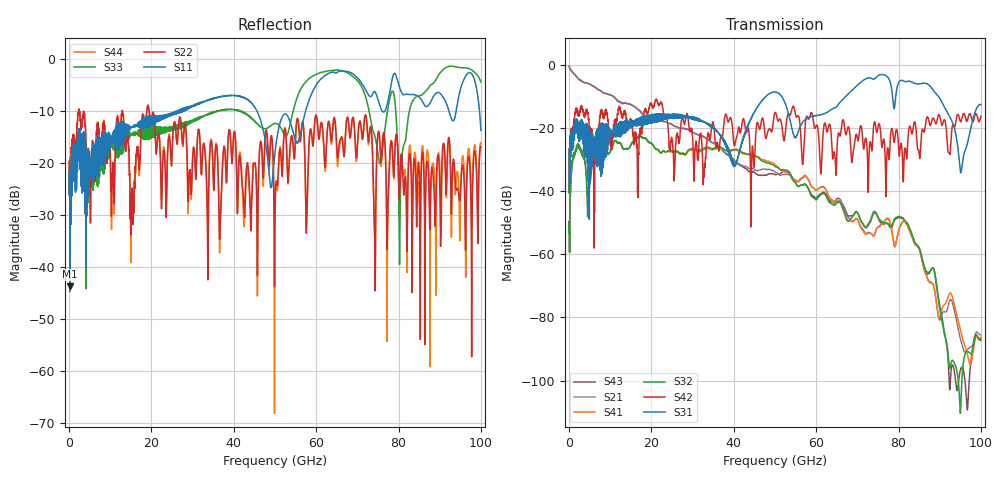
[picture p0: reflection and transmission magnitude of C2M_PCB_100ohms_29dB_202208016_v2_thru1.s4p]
! Info: Touchstone file created by Circ.  Input file=Intel_C2M_200G_13p0in_202208016_staggered.circ
# Hz S RI R 50
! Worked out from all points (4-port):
!   10000 points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, 10 MHz to 100 GHz, reference 50 ohm
!   strongest paths, dB at 10 MHz, 25.01 GHz, 50.01 GHz, 75.01 GHz, 100 GHz:
!     S31: -40.5, -16.1, -8.6, -3.4, -12.6
!     S42: -40.5, -24.6, -15.1, -19.7, -16.3
!     S32: -53.1, -27.4, -32.1, -48.1, -87.2
!     S41: -53.1, -27.6, -31.7, -51.4, -86.2
!     S21: -0.4, -18.9, -34.0, -51.4, -85.6
!     S43: -0.4, -18.9, -34.8, -48.4, -86.7
!   lowest |S11| = -43.7 dB at 240 MHz (marker M1), VSWR 1.01, Z = 50.2 - j0.619 ohm
!   |S11| at or under -10 dB: start of sweep to 26.53 GHz; 45.58 GHz to 57.47 GHz (11.88 GHz wide, 23.1 % of centre); 92.21 GHz to 94.01 GHz (1.79 GHz wide, 1.92 % of centre)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
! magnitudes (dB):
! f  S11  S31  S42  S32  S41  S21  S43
! 10 MHz  -26.1  -40.5  -40.5  -53.1  -53.1  -0.4  -0.4
! 240 MHz  -43.7  -24.8  -23.9  -41.8  -41.8  -1.2  -1.2
! 40.85 GHz  -7.1  -30.3  -22.2  -26.8  -27.2  -31.1  -31.3
! 78.53 GHz  -3.7  -9.6  -20.7  -50.4  -53.7  -53.8  -51.0
! 80.36 GHz  -5.8  -5.1  -27.1  -48.1  -51.4  -51.1  -48.4
! 95.17 GHz  -5.5  -34.1  -18.0  -105.8  -84.5  -87.4  -96.1
! 100 GHz  -13.8  -12.6  -16.3  -87.2  -86.2  -85.6  -86.7
